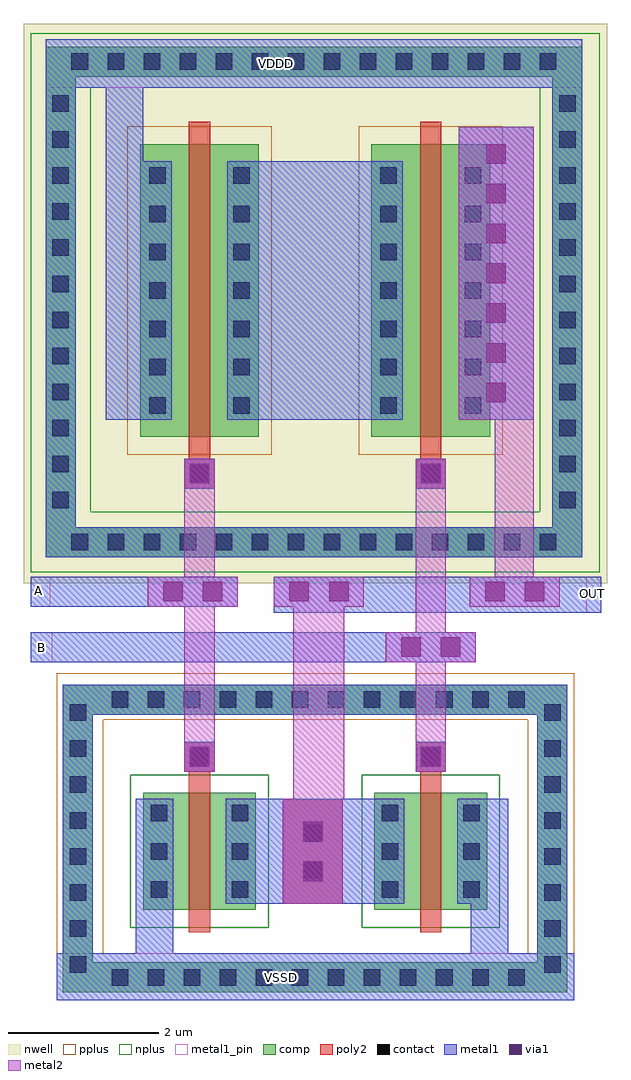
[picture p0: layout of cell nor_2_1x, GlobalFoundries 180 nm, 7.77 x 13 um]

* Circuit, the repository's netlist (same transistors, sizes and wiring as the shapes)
** sch_path: /home/gf180/Documents/gf180/gf180_work/PICO_contest/SAR_logic/xschem/nor_2_1x.sch
.subckt nor_2_1x A B VDDD VSSD OUT
*.PININFO A:I B:I VDDD:B VSSD:B OUT:B
M1 OUT B VSSD VSSD nfet_03v3 L=0.28u W=1.56u nf=1 m=1
M2 OUT A VSSD VSSD nfet_03v3 L=0.28u W=1.56u nf=1 m=1
M3 OUT B net1 VDDD pfet_03v3 L=0.28u W=3.9u nf=1 m=1
M4 net1 A VDDD VDDD pfet_03v3 L=0.28u W=3.9u nf=1 m=1
.ends
.end

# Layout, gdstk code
import gdstk
lib = gdstk.Library(unit=1e-6, precision=1e-09)
def R(c, l, rs):  # rectangles x0, y0, x1, y1
    for r in rs: c.add(gdstk.rectangle(r[:2], r[2:], *l))
def A(c, l, x, y, w, h, nx, ny, dx, dy):  # array of equal rectangles
    R(c, l, [(x+i*dx, y+j*dy, x+i*dx+w, y+j*dy+h) for i in range(nx) for j in range(ny)])
nwell = (21, 0)
comp = (22, 0)
poly2 = (30, 0)
pplus = (31, 0)
nplus = (32, 0)
contact = (33, 0)
metal1 = (34, 0)
metal1_pin = (34, 10)
via1 = (35, 0)
metal2 = (36, 0)

pfet = lib.new_cell('pfet')
R(pfet, nwell, [(-0.9,-0.44,1.56,4.34)])
R(pfet, comp, [(-0.46,0,0,3.9), (0,0,0.66,3.9), (0.66,0,1.12,3.9)])
R(pfet, poly2, [(0.19,-0.3,0.47,4.2), (0.14,4.2,0.52,4.58)])
R(pfet, pplus, [(-0.63,-0.24,1.29,4.14)])
A(pfet, contact, -0.34, 0.31, 0.22, 0.22, 1, 7, 0, 0.51)
A(pfet, contact, 0.78, 0.31, 0.22, 0.22, 1, 7, 0, 0.51)
R(pfet, contact, [(0.22,4.28,0.44,4.5)])
R(pfet, metal1, [(-0.42,0.23,-0.04,3.67), (0.7,0.23,1.08,3.67), (0.14,4.199,0.52,4.581)])

via_dev_4 = lib.new_cell('via_dev$4')
R(via_dev_4, poly2, [(0,0,0.4,0.4)])
R(via_dev_4, contact, [(0.09,0.09,0.31,0.31)])
R(via_dev_4, metal1, [(0,0,0.4,0.4)])
R(via_dev_4, via1, [(0.07,0.07,0.33,0.33)])
R(via_dev_4, metal2, [(0,0,0.4,0.4)])

via_dev = lib.new_cell('via_dev')
R(via_dev, metal1, [(0,0,1,3.9)])
A(via_dev, via1, 0.37, 0.23, 0.26, 0.26, 1, 7, 0, 0.53)
R(via_dev, metal2, [(0,0,1,3.9)])

nfet_1 = lib.new_cell('nfet$1')
R(nfet_1, comp, [(-0.42,0,0,1.56), (0,0,0.66,1.56), (0.66,0,1.08,1.56)])
R(nfet_1, poly2, [(0.19,-0.3,0.47,1.86), (0.15,1.86,0.51,2.22)])
R(nfet_1, nplus, [(-0.59,-0.24,1.25,1.8)])
A(nfet_1, contact, -0.32, 0.16, 0.22, 0.22, 1, 3, 0, 0.51)
A(nfet_1, contact, 0.76, 0.16, 0.22, 0.22, 1, 3, 0, 0.51)
R(nfet_1, contact, [(0.22,1.93,0.44,2.15)])
R(nfet_1, metal1, [(-0.4,0.08,-0.02,1.48), (0.68,0.08,1.06,1.48), (0.14,1.849,0.52,2.231)])

via_dev_1 = lib.new_cell('via_dev$1')
R(via_dev_1, comp, [(0,0,0.4,6)])
A(via_dev_1, contact, 0.09, 0.25, 0.22, 0.22, 1, 12, 0, 0.48)
R(via_dev_1, metal1, [(0,0,0.4,6)])

via_dev_10 = lib.new_cell('via_dev$10')
R(via_dev_10, metal1, [(0,0,1.2,0.4)])
R(via_dev_10, via1, [(0.205,0.07,0.465,0.33), (0.735,0.07,0.995,0.33)])
R(via_dev_10, metal2, [(0,0,1.2,0.4)])

via_dev_12 = lib.new_cell('via_dev$12')
R(via_dev_12, comp, [(0,0,7.15,0.4)])
A(via_dev_12, contact, 0.345, 0.09, 0.22, 0.22, 14, 1, 0.48, 0)
R(via_dev_12, metal1, [(0,0,7.15,0.4)])

via_dev_7 = lib.new_cell('via_dev$7')
R(via_dev_7, comp, [(0,0,6,0.4)])
A(via_dev_7, contact, 0.25, 0.09, 0.22, 0.22, 12, 1, 0.48, 0)
R(via_dev_7, metal1, [(0,0,6,0.4)])

via_dev_8 = lib.new_cell('via_dev$8')
R(via_dev_8, comp, [(0,0,0.4,4.1)])
A(via_dev_8, contact, 0.09, 0.26, 0.22, 0.22, 1, 8, 0, 0.48)
R(via_dev_8, metal1, [(0,0,0.4,4.1)])

via_dev_9 = lib.new_cell('via_dev$9')
R(via_dev_9, poly2, [(0,0,0.8,1.4)])
R(via_dev_9, contact, [(0.29,0.35,0.51,0.57), (0.29,0.83,0.51,1.05)])
R(via_dev_9, metal1, [(0,0,0.8,1.4)])
R(via_dev_9, via1, [(0.27,0.305,0.53,0.565), (0.27,0.835,0.53,1.095)])
R(via_dev_9, metal2, [(0,0,0.8,1.4)])

nor_2_1x = lib.new_cell('nor_2_1x')
R(nor_2_1x, nwell, [(-1.89,-1.15,5.88,6.3)])
R(nor_2_1x, pplus, [(-1.45,-6.7,-0.83,-2.35), (-1.45,-6.7,4.9,-6.08), (4.82,-6.7,5.44,-2.35), (-1.45,-2.97,4.9,-2.35)])
R(nor_2_1x, nplus, [(-1.8,-1,5.78,-0.2), (-1.8,-0.85,-1,6.05), (4.98,-0.85,5.78,6.1), (-1.8,5.45,5.78,6.18)])
R(nor_2_1x, metal1, [(-1.45,-6.7,5.44,-6.08), (-0.4,-6.29,0.1,-4.02), (4.06,-6.29,4.56,-4.02), (1.17,-5.42,2.84,-4.02), (-1.8,-2.2,2.93,-1.8), (1.44,-1.54,5.8,-1.06), (-1.8,-1.46,-0.24,-1.06), (-0.8,1.03,-0.3,5.98), (1.2,1.03,2.78,4.47), (-1.6,5.45,5.55,6.1)])
R(nor_2_1x, metal1_pin, [(-1.45,-6.7,5.44,-6.08), (-1.8,-2.2,-1.51,-1.8), (5.6,-1.54,5.8,-1.06), (-1.8,-1.46,-1.54,-1.06), (-1.6,5.45,5.55,6.1)])
R(nor_2_1x, metal2, [(1.7,-4.02,2.38,-1.06), (0.25,-3.26,0.65,0.18), (3.33,-3.26,3.73,0.29), (4.38,-1.2,4.9,1.2)])
nor_2_1x.add(gdstk.Reference(pfet, (0.12,4.7), x_reflection=True))
nor_2_1x.add(gdstk.Reference(via_dev_4, (3.33,-3.66)))
nor_2_1x.add(gdstk.Reference(via_dev_4, (0.25,0.11)))
nor_2_1x.add(gdstk.Reference(via_dev_4, (3.33,0.11)))
nor_2_1x.add(gdstk.Reference(via_dev, (3.9,1.03)))
nor_2_1x.add(gdstk.Reference(nfet_1, (0.12,-5.5)))
nor_2_1x.add(gdstk.Reference(via_dev_1, (-1.6,-0.4)))
nor_2_1x.add(gdstk.Reference(via_dev_10, (2.93,-2.2)))
nor_2_1x.add(gdstk.Reference(via_dev_12, (-1.6,5.6)))
nor_2_1x.add(gdstk.Reference(nfet_1, (3.2,-5.5)))
nor_2_1x.add(gdstk.Reference(via_dev_7, (-0.97,-2.9)))
nor_2_1x.add(gdstk.Reference(via_dev_7, (-0.97,-6.6)))
nor_2_1x.add(gdstk.Reference(via_dev_8, (-1.37,-6.6)))
nor_2_1x.add(gdstk.Reference(via_dev_9, (1.56,-5.42)))
nor_2_1x.add(gdstk.Reference(via_dev_4, (0.25,-3.66)))
nor_2_1x.add(gdstk.Reference(via_dev_10, (1.44,-1.46)))
nor_2_1x.add(gdstk.Reference(via_dev_10, (4.05,-1.46)))
nor_2_1x.add(gdstk.Reference(pfet, (3.2,4.7), x_reflection=True))
nor_2_1x.add(gdstk.Reference(via_dev_10, (-0.24,-1.46)))
nor_2_1x.add(gdstk.Reference(via_dev_1, (5.15,-0.4)))
nor_2_1x.add(gdstk.Reference(via_dev_12, (-1.6,-0.8)))
nor_2_1x.add(gdstk.Reference(via_dev_8, (4.95,-6.6)))
nor_2_1x.add(gdstk.Label('VDDD', (1.47,5.78), layer=34, texttype=10))
nor_2_1x.add(gdstk.Label('VSSD', (1.54,-6.4), layer=34, texttype=10))
nor_2_1x.add(gdstk.Label('A', (-1.69,-1.25), layer=34, texttype=10))
nor_2_1x.add(gdstk.Label('B', (-1.66,-2), layer=34, texttype=10))
nor_2_1x.add(gdstk.Label('OUT', (5.69,-1.29), layer=34, texttype=10))

lib.write_gds('nor_2_1x.gds')
